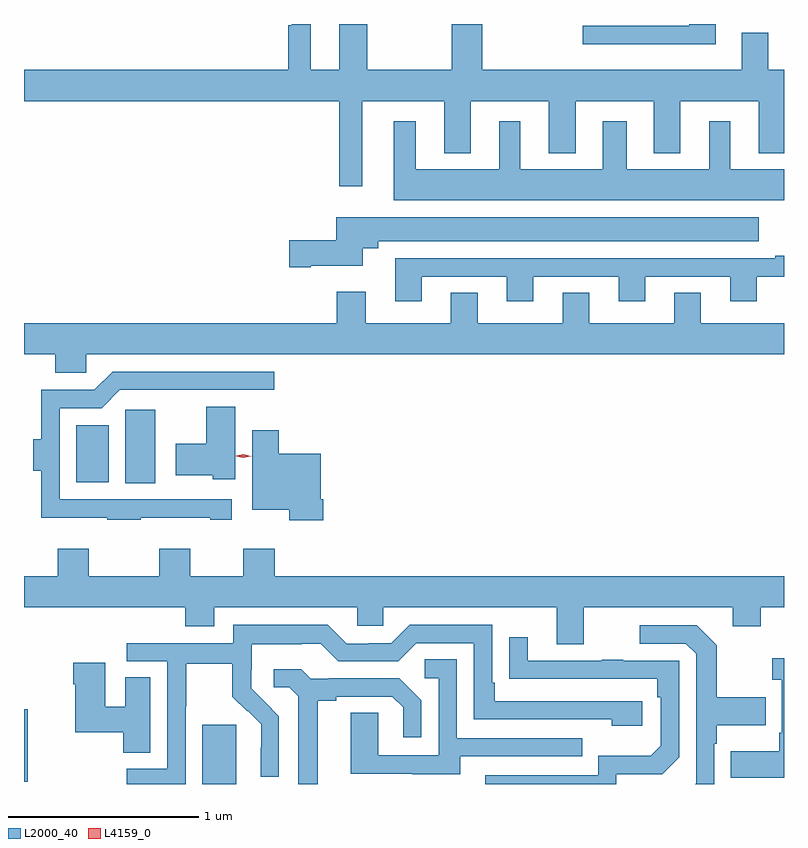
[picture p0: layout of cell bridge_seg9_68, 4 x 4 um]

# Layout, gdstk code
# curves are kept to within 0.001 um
import gdstk
lib = gdstk.Library(unit=1e-6, precision=1e-09)
def R(c, l, rs):  # rectangles x0, y0, x1, y1
    for r in rs: c.add(gdstk.rectangle(r[:2], r[2:], *l))
def P(c, l, *ps):  # polygons
    for p in ps: c.add(gdstk.Polygon(p, *l))
L2000_40 = (2000, 40)
L4159_0 = (4159, 0)

bridge_seg9_68 = lib.new_cell('bridge_seg9_68')
R(bridge_seg9_68, L2000_40, [(1115.927,1187.498,1116.106,1187.811), (1114.988,1187.511,1115.009,1187.892), (1115.522,1189.081,1115.68,1189.468), (1115.264,1189.085,1115.434,1189.387)])
P(bridge_seg9_68, L2000_40, [(1116.769,1191.092),(1117.199,1191.092),(1117.199,1190.819),(1117.339,1190.819),(1117.339,1191.092),(1117.751,1191.092),(1117.751,1190.819),(1117.891,1190.819),(1117.891,1191.092),(1118.303,1191.092),(1118.303,1190.819),(1118.443,1190.819),(1118.443,1191.092),(1118.855,1191.092),(1118.855,1190.819),(1118.988,1190.819),(1118.988,1191.256),(1118.905,1191.256),(1118.905,1191.451),(1118.765,1191.451),(1118.765,1191.256),(1117.4,1191.256),(1117.4,1191.498),(1117.24,1191.498),(1117.24,1191.256),(1116.795,1191.256),(1116.795,1191.498),(1116.647,1191.498),(1116.647,1191.256),(1116.496,1191.256),(1116.496,1191.498),(1116.398,1191.498),(1116.398,1191.492),(1116.379,1191.492),(1116.379,1191.256),(1114.988,1191.256),(1114.988,1191.092),(1116.648,1191.092),(1116.648,1190.643),(1116.769,1190.643)],
  [(1118.629,1191.498),(1118.489,1191.498),(1118.489,1191.489),(1117.929,1191.489),(1117.929,1191.392),(1118.629,1191.392)],
  [(1118.988,1190.734),(1118.704,1190.734),(1118.704,1190.986),(1118.594,1190.986),(1118.594,1190.734),(1118.161,1190.734),(1118.161,1190.986),(1118.033,1190.986),(1118.033,1190.734),(1117.6,1190.734),(1117.6,1190.986),(1117.49,1190.986),(1117.49,1190.734),(1117.051,1190.734),(1117.051,1190.986),(1116.935,1190.986),(1116.935,1190.57),(1118.988,1190.57)],
  [(1116.496,1190.225),(1116.772,1190.225),(1116.772,1190.318),(1116.853,1190.318),(1116.853,1190.354),(1118.854,1190.354),(1118.854,1190.482),(1116.632,1190.482),(1116.632,1190.36),(1116.384,1190.36),(1116.384,1190.218),(1116.496,1190.218)],
  [(1117.081,1190.169),(1117.529,1190.169),(1117.529,1190.04),(1117.669,1190.04),(1117.669,1190.169),(1118.117,1190.169),(1118.117,1190.04),(1118.257,1190.04),(1118.257,1190.169),(1118.705,1190.169),(1118.705,1190.04),(1118.845,1190.04),(1118.845,1190.169),(1118.988,1190.169),(1118.988,1190.278),(1118.941,1190.278),(1118.941,1190.265),(1116.941,1190.265),(1116.941,1190.04),(1117.081,1190.04)],
  [(1115.316,1189.76),(1118.988,1189.76),(1118.988,1189.924),(1118.551,1189.924),(1118.551,1190.084),(1118.411,1190.084),(1118.411,1189.924),(1117.963,1189.924),(1117.963,1190.084),(1117.823,1190.084),(1117.823,1189.924),(1117.375,1189.924),(1117.375,1190.084),(1117.235,1190.084),(1117.235,1189.924),(1116.787,1189.924),(1116.787,1190.089),(1116.635,1190.089),(1116.635,1189.924),(1114.988,1189.924),(1114.988,1189.76),(1115.153,1189.76),(1115.153,1189.662),(1115.316,1189.662)],
  [(1115.603,1188.899),(1115.969,1188.899),(1115.969,1188.888),(1116.082,1188.888),(1116.082,1188.996),(1115.175,1188.996),(1115.175,1189.476),(1115.397,1189.476),(1115.493,1189.572),(1116.304,1189.572),(1116.304,1189.668),(1115.454,1189.668),(1115.358,1189.572),(1115.078,1189.572),(1115.078,1189.312),(1115.036,1189.312),(1115.036,1189.148),(1115.079,1189.148),(1115.079,1188.899),(1115.425,1188.899),(1115.425,1188.888),(1115.603,1188.888)],
  [(1116.1,1189.483),(1115.948,1189.483),(1115.948,1189.288),(1115.787,1189.288),(1115.787,1189.124),(1115.982,1189.124),(1115.982,1189.103),(1116.1,1189.103)],
  [(1116.563,1188.997),(1116.55,1188.997),(1116.55,1189.237),(1116.329,1189.237),(1116.329,1189.36),(1116.188,1189.36),(1116.188,1188.941),(1116.385,1188.941),(1116.385,1188.885),(1116.563,1188.885)],
  [(1117.933,1188.428),(1118.717,1188.428),(1118.717,1188.329),(1118.865,1188.329),(1118.865,1188.428),(1118.988,1188.428),(1118.988,1188.592),(1116.307,1188.592),(1116.307,1188.736),(1116.143,1188.736),(1116.143,1188.592),(1115.863,1188.592),(1115.863,1188.736),(1115.699,1188.736),(1115.699,1188.592),(1115.329,1188.592),(1115.329,1188.736),(1115.165,1188.736),(1115.165,1188.592),(1114.988,1188.592),(1114.988,1188.428),(1115.837,1188.428),(1115.837,1188.329),(1115.989,1188.329),(1115.989,1188.428),(1116.741,1188.428),(1116.741,1188.33),(1116.879,1188.33),(1116.879,1188.428),(1117.793,1188.428),(1117.793,1188.234),(1117.933,1188.234)],
  [(1115.838,1187.908),(1115.841,1187.908),(1115.841,1188.132),(1116.085,1188.132),(1116.085,1187.957),(1116.162,1187.88),(1116.165,1187.883),(1116.236,1187.813),(1116.236,1187.69),(1116.234,1187.69),(1116.234,1187.536),(1116.33,1187.536),(1116.33,1187.854),(1116.184,1188.002),(1116.184,1188.099),(1116.186,1188.099),(1116.186,1188.233),(1116.449,1188.233),(1116.449,1188.237),(1116.549,1188.237),(1116.642,1188.144),(1116.957,1188.144),(1117.053,1188.24),(1117.356,1188.24),(1117.356,1187.838),(1118.081,1187.838),(1118.081,1187.804),(1118.242,1187.804),(1118.242,1187.934),(1117.465,1187.934),(1117.465,1188.031),(1117.452,1188.031),(1117.452,1188.336),(1117.017,1188.336),(1116.921,1188.24),(1116.803,1188.24),(1116.803,1188.237),(1116.687,1188.237),(1116.587,1188.337),(1116.09,1188.337),(1116.09,1188.24),(1115.529,1188.24),(1115.529,1188.144),(1115.742,1188.144),(1115.742,1187.577),(1115.529,1187.577),(1115.529,1187.498),(1115.838,1187.498)],
  [(1118.622,1187.711),(1118.635,1187.711),(1118.635,1187.807),(1118.891,1187.807),(1118.891,1187.955),(1118.635,1187.955),(1118.635,1188.227),(1118.529,1188.333),(1118.229,1188.333),(1118.229,1188.237),(1118.472,1188.237),(1118.526,1188.183),(1118.526,1187.502),(1118.522,1187.498),(1118.622,1187.498)],
  [(1118.106,1187.55),(1118.346,1187.55),(1118.436,1187.64),(1118.436,1188.147),(1118.141,1188.147),(1118.141,1188.152),(1118.029,1188.152),(1118.029,1188.147),(1117.639,1188.147),(1117.639,1188.271),(1117.543,1188.271),(1117.543,1188.052),(1118.32,1188.051),(1118.32,1187.954),(1118.34,1187.954),(1118.34,1187.7),(1118.287,1187.647),(1118.01,1187.647),(1118.01,1187.544),(1117.415,1187.544),(1117.415,1187.498),(1118.106,1187.498)],
  [(1118.988,1188.16),(1118.925,1188.16),(1118.925,1188.047),(1118.976,1188.047),(1118.976,1187.767),(1118.964,1187.767),(1118.964,1187.671),(1118.707,1187.671),(1118.707,1187.531),(1118.988,1187.531)],
  [(1117.285,1187.643),(1117.925,1187.643),(1117.925,1187.739),(1117.266,1187.739),(1117.266,1188.155),(1117.098,1188.155),(1117.098,1188.054),(1117.17,1188.054),(1117.17,1187.649),(1116.852,1187.649),(1116.852,1187.873),(1116.707,1187.873),(1116.707,1187.553),(1117.031,1187.553),(1117.031,1187.549),(1117.285,1187.549)],
  [(1115.653,1188.059),(1115.522,1188.059),(1115.522,1187.905),(1115.416,1187.905),(1115.416,1188.136),(1115.246,1188.136),(1115.246,1188.023),(1115.258,1188.023),(1115.258,1187.771),(1115.51,1187.771),(1115.51,1187.662),(1115.653,1187.662)],
  [(1116.535,1187.936),(1116.631,1187.936),(1116.631,1187.958),(1116.926,1187.958),(1116.983,1187.901),(1116.983,1187.745),(1117.08,1187.745),(1117.08,1187.938),(1116.964,1188.054),(1116.592,1188.054),(1116.592,1188.051),(1116.498,1188.051),(1116.446,1188.103),(1116.303,1188.103),(1116.303,1188.006),(1116.384,1188.006),(1116.431,1187.959),(1116.431,1187.498),(1116.535,1187.498)])
P(bridge_seg9_68, L4159_0, [(1116.143,1189.214),(1116.105,1189.224),(1116.104,1189.225),(1116.105,1189.225),(1116.144,1189.234),(1116.182,1189.223),(1116.183,1189.223),(1116.182,1189.223)])

lib.write_gds('bridge_seg9_68.gds')
